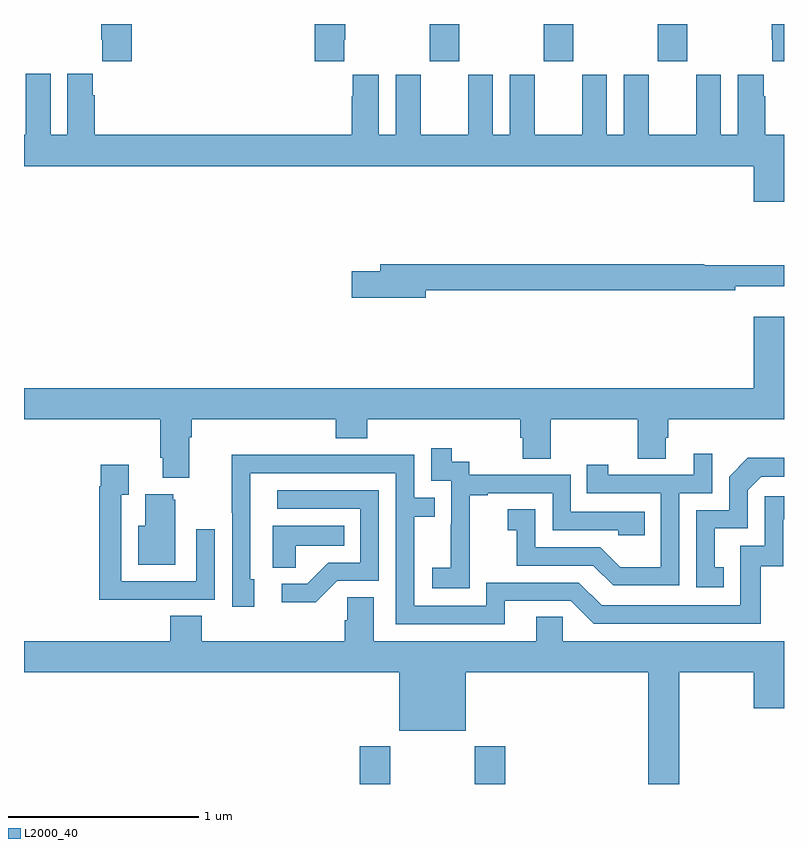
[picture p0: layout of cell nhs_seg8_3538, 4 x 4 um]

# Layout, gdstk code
import gdstk
lib = gdstk.Library(unit=1e-6, precision=1e-09)
def R(c, l, rs):  # rectangles x0, y0, x1, y1
    for r in rs: c.add(gdstk.rectangle(r[:2], r[2:], *l))
def A(c, l, x, y, w, h, nx, ny, dx, dy):  # array of equal rectangles
    R(c, l, [(x+i*dx, y+j*dy, x+i*dx+w, y+j*dy+h) for i in range(nx) for j in range(ny)])
def P(c, l, *ps):  # polygons
    for p in ps: c.add(gdstk.Polygon(p, *l))
L2000_40 = (2000, 40)

nhs_seg8_3538 = lib.new_cell('nhs_seg8_3538')
A(nhs_seg8_3538, L2000_40, 331.135, 1131.705, 0.155, 0.195, 3, 1, 0.6, 0)
R(nhs_seg8_3538, L2000_40, [(330.767,1127.9,330.927,1128.1), (331.372,1127.9,331.532,1128.1)])
P(nhs_seg8_3538, L2000_40, [(333,1131.9),(332.935,1131.9),(332.935,1131.817),(332.939,1131.817),(332.939,1131.705),(333,1131.705)],
  [(330.685,1131.817),(330.69,1131.817),(330.69,1131.9),(330.53,1131.9),(330.53,1131.705),(330.685,1131.705)],
  [(329.567,1131.9),(329.407,1131.9),(329.407,1131.817),(329.413,1131.817),(329.413,1131.705),(329.567,1131.705)],
  [(330.956,1131.634),(330.956,1131.316),(330.868,1131.316),(330.868,1131.634),(330.731,1131.634),(330.731,1131.521),(330.725,1131.521),(330.725,1131.316),(329.372,1131.316),(329.372,1131.524),(329.362,1131.524),(329.362,1131.637),(329.228,1131.637),(329.228,1131.316),(329.14,1131.316),(329.14,1131.637),(329.01,1131.637),(329.01,1131.524),(329.009,1131.524),(329.009,1131.316),(329,1131.316),(329,1131.152),(332.84,1131.152),(332.84,1130.964),(333,1130.964),(333,1131.316),(332.9,1131.316),(332.9,1131.521),(332.893,1131.521),(332.893,1131.634),(332.756,1131.634),(332.756,1131.316),(332.668,1131.316),(332.668,1131.634),(332.537,1131.634),(332.537,1131.316),(332.287,1131.316),(332.287,1131.634),(332.156,1131.634),(332.156,1131.316),(332.068,1131.316),(332.068,1131.634),(331.937,1131.634),(331.937,1131.316),(331.687,1131.316),(331.687,1131.634),(331.556,1131.634),(331.556,1131.316),(331.468,1131.316),(331.468,1131.634),(331.337,1131.634),(331.337,1131.316),(331.087,1131.316),(331.087,1131.634)],
  [(331.114,1130.5),(332.744,1130.5),(332.744,1130.519),(333,1130.519),(333,1130.629),(332.579,1130.629),(332.579,1130.636),(330.875,1130.636),(330.875,1130.6),(330.726,1130.6),(330.726,1130.458),(331.114,1130.458)],
  [(329.869,1129.724),(329.882,1129.724),(329.882,1129.82),(330.641,1129.82),(330.641,1129.721),(330.806,1129.721),(330.806,1129.82),(331.613,1129.82),(331.613,1129.722),(331.625,1129.722),(331.625,1129.612),(331.773,1129.612),(331.773,1129.82),(332.23,1129.82),(332.23,1129.612),(332.377,1129.612),(332.377,1129.722),(332.39,1129.722),(332.39,1129.82),(333,1129.82),(333,1130.359),(332.84,1130.359),(332.84,1129.984),(329,1129.984),(329,1129.82),(329.717,1129.82),(329.717,1129.618),(329.729,1129.618),(329.729,1129.511),(329.869,1129.511)],
  [(331.347,1129.135),(331.346,1129.135),(331.346,1129.419),(331.441,1129.419),(331.441,1129.431),(331.782,1129.431),(331.782,1129.236),(332.127,1129.236),(332.127,1129.209),(332.267,1129.209),(332.267,1129.332),(331.878,1129.332),(331.878,1129.527),(331.344,1129.527),(331.344,1129.596),(331.252,1129.596),(331.252,1129.666),(331.143,1129.666),(331.143,1129.497),(331.248,1129.497),(331.248,1129.268),(331.247,1129.268),(331.247,1129.039),(331.149,1129.039),(331.149,1128.929),(331.347,1128.929)],
  [(332.448,1129.431),(332.622,1129.431),(332.622,1129.639),(332.525,1129.639),(332.525,1129.527),(332.074,1129.527),(332.074,1129.579),(331.963,1129.579),(331.963,1129.431),(332.352,1129.431),(332.352,1129.042),(332.138,1129.042),(332.034,1129.146),(331.692,1129.146),(331.692,1129.345),(331.545,1129.345),(331.545,1129.235),(331.594,1129.235),(331.594,1129.05),(331.997,1129.05),(332.102,1128.945),(332.448,1128.945)],
  [(331.531,1128.864),(331.878,1128.864),(331.998,1128.744),(332.878,1128.744),(332.878,1129.047),(332.996,1129.047),(332.996,1129.293),(333,1129.293),(333,1129.414),(332.898,1129.414),(332.898,1129.155),(332.769,1129.155),(332.769,1128.84),(332.04,1128.84),(331.92,1128.96),(331.434,1128.96),(331.434,1128.837),(331.053,1128.837),(331.053,1129.306),(331.163,1129.306),(331.163,1129.407),(331.053,1129.407),(331.053,1129.632),(330.557,1129.632),(330.557,1129.634),(330.094,1129.634),(330.094,1129.327),(330.096,1129.327),(330.096,1128.834),(330.211,1128.834),(330.211,1128.978),(330.192,1128.978),(330.192,1129.536),(330.957,1129.536),(330.957,1128.741),(331.531,1128.741)],
  [(332.684,1129.041),(332.635,1129.041),(332.635,1129.245),(332.808,1129.245),(332.808,1129.446),(332.88,1129.518),(333,1129.518),(333,1129.616),(332.81,1129.616),(332.712,1129.518),(332.712,1129.341),(332.538,1129.341),(332.538,1128.936),(332.684,1128.936)],
  [(329.687,1128.87),(330.003,1128.87),(330.003,1129.24),(329.907,1129.24),(329.907,1128.966),(329.511,1128.966),(329.511,1129.423),(329.551,1129.423),(329.551,1129.579),(329.403,1129.579),(329.403,1129.466),(329.395,1129.466),(329.395,1128.869),(329.687,1128.869)],
  [(330.648,1128.969),(330.867,1128.969),(330.867,1129.446),(330.333,1129.446),(330.333,1129.35),(330.771,1129.35),(330.771,1129.065),(330.602,1129.065),(330.491,1128.954),(330.357,1128.954),(330.357,1128.857),(330.535,1128.857)],
  [(329.797,1129.395),(329.786,1129.395),(329.786,1129.426),(329.639,1129.426),(329.639,1129.258),(329.6,1129.258),(329.6,1129.055),(329.797,1129.055)],
  [(330.429,1129.154),(330.686,1129.154),(330.686,1129.258),(330.308,1129.258),(330.308,1129.039),(330.429,1129.039)],
  [(332.449,1128.488),(332.84,1128.488),(332.84,1128.3),(333,1128.3),(333,1128.652),(331.836,1128.652),(331.836,1128.779),(331.697,1128.779),(331.697,1128.652),(330.841,1128.652),(330.841,1128.884),(330.702,1128.884),(330.702,1128.761),(330.689,1128.761),(330.689,1128.652),(329.936,1128.652),(329.936,1128.785),(329.771,1128.785),(329.771,1128.652),(329,1128.652),(329,1128.488),(330.974,1128.488),(330.974,1128.179),(331.324,1128.179),(331.324,1128.488),(332.285,1128.488),(332.285,1127.9),(332.449,1127.9)])

lib.write_gds('nhs_seg8_3538.gds')
